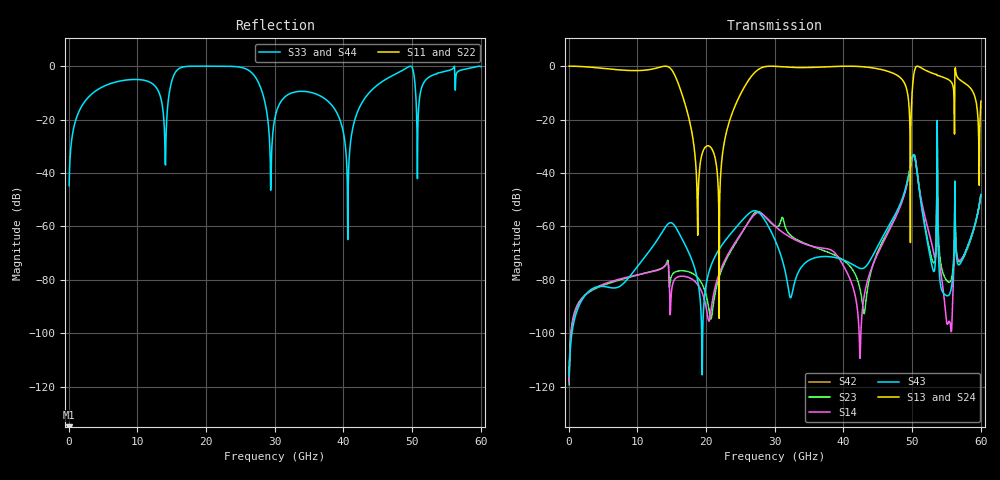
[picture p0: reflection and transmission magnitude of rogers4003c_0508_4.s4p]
! TOUCHSTONE file generated by CST MICROWAVE STUDIO
! Date and time: Wed Apr 16 11:32:50 2025
! Project name: LOSSLESS_rogers4003c_air_gapped_wideband_balanced.cst
! Parameters = {h=2.5; lambda=10; period=5; phi=0; theta=0; thickness=0.508; w_mesh_1=2; w_mesh_2=2; w_patch_1=1.6; w_patch_2=1.6}
! Header version: 2018
! Port assignment regex: !\s*Touchstone port\s*([0-9]+)\s*=\s*(CST MWS port|CST DS port)\s*([0-9]+|Zmin|Zmax)\s*\(\"(.*)\"\)(\s*mode\s*([0-9]+))?.*
! Touchstone port assignment:
! Touchstone port 1 = CST MWS port Zmin ("") mode 1
! Touchstone port 2 = CST MWS port Zmin ("") mode 2
! Touchstone port 3 = CST MWS port Zmax ("") mode 1
! Touchstone port 4 = CST MWS port Zmax ("") mode 2
! S-Parameters are not renormalized. Unphysical impedance of 50 will be written to the file.
# GHz S RI R 50
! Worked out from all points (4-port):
!   1002 points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, 60 MHz to 60 GHz, reference per port
!   strongest paths, dB at 60 MHz, 15 GHz, 30 GHz, 45 GHz, 60 GHz:
!     S13: 0.0, -1.4, 0.0, -1.0, -13.1
!     S24: 0.0, -1.4, 0.0, -1.0, -13.1
!     S43: -116.3, -58.7, -64.9, -67.2, -48.1
!     S14: -118.3, -83.5, -59.8, -70.2, -48.2
!     S23: -119.3, -78.4, -59.8, -69.4, -48.3
!     S42: -, -, -, -, -
!   lowest |S11| = - dB at 60 MHz (marker M1), VSWR 1.00
!   |S11| at or under -10 dB: start of sweep to end of sweep
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0.06  0 0  0 0  1 -0.00577  -4.95e-07 1.12e-06
      0 0  0 0  -6.13e-07 8.89e-07  1 -0.00578
      0 0  0 0  -1.87e-05 -0.0058  1.44e-07 1.45e-06
      0 0  0 0  7.52e-08 1.53e-06  -1.89e-05 -0.0058
14.7  0 0  0 0  -0.4345 -0.8296  1.78e-05 -4.99e-05
      0 0  0 0  7.45e-05 2.06e-05  -0.4369 -0.8273
      0 0  0 0  0.3098 -0.1641  0.000458 0.00107
      0 0  0 0  0.000455 0.00107  0.312 -0.1656
21.84  0 0  0 0  0.0019 -0.00137  -0.000109 5.79e-05
       0 0  0 0  -9.07e-05 5.53e-05  0.00171 -0.00123
       0 0  0 0  -0.5929 -0.8053  -0.000291 0.000216
       0 0  0 0  -0.000292 0.000215  -0.5927 -0.8054
28.38  0 0  0 0  0.5644 0.7824  0.00149 -0.000658
       0 0  0 0  0.00146 -0.000683  0.565 0.7821
       0 0  0 0  -0.2143 0.1528  0.00141 -3.04e-05
       0 0  0 0  0.00141 -2.66e-05  -0.215 0.151
40.62  0 0  0 0  0.8632 -0.5049  -5.36e-05 -0.000117
       0 0  0 0  -7.97e-05 -0.000182  0.8635 -0.5042
       0 0  0 0  -0.000374 -0.000424  1.91e-05 0.000191
       0 0  0 0  3.4e-06 0.000217  -0.000912 -0.00074
50.16  0 0  0 0  0.5056 0.2904  -0.0213 0.000701
       0 0  0 0  -0.0216 0.000947  0.4611 0.293
       0 0  0 0  0.4051 -0.7035  0.0218 -0.000399
       0 0  0 0  0.0219 -0.000694  0.4497 -0.706
60  0 0  0 0  0.098 0.1983  -0.00245 -0.00302
    0 0  0 0  -0.00242 -0.00296  0.0984 0.199
    0 0  0 0  0.8747 -0.4312  0.00246 0.00305
    0 0  0 0  0.00246 0.00307  0.8745 -0.4311
